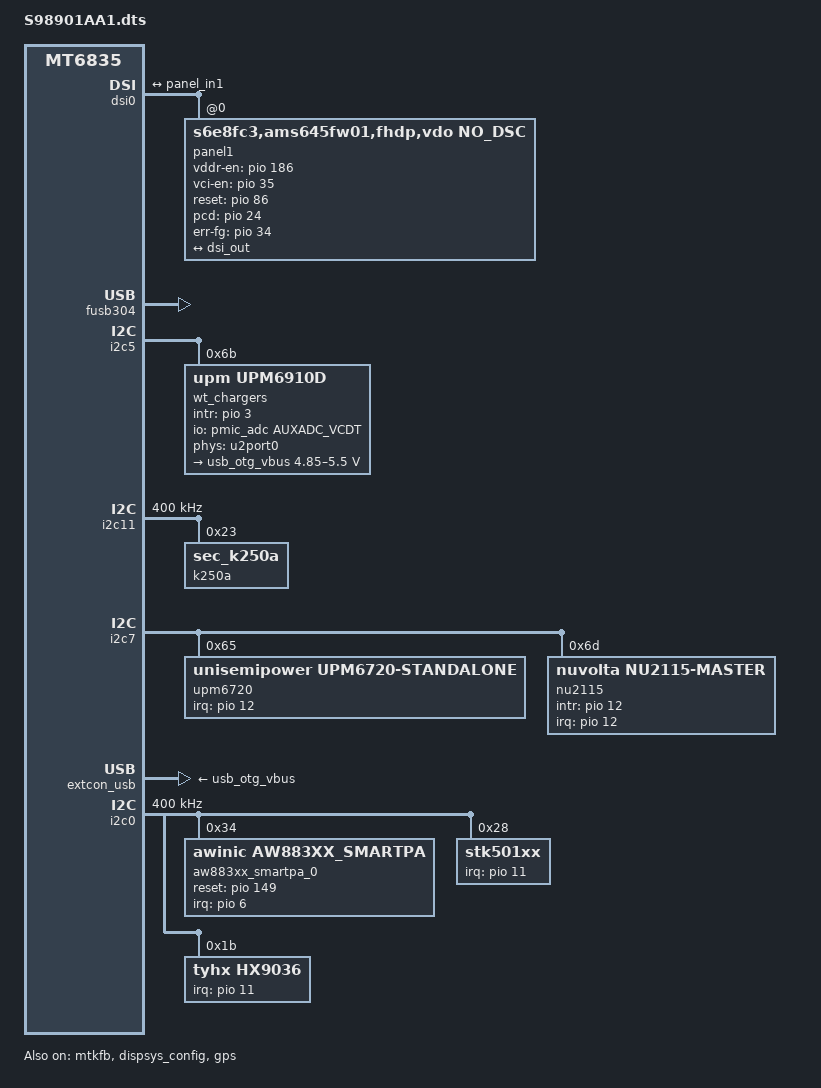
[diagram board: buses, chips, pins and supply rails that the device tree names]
// SPDX-License-Identifier: (GPL-2.0 OR MIT)
/*
 * Copyright (C) 2022 MediaTek Inc.
 */
#include <dt-bindings/interrupt-controller/arm-gic.h>
#include <dt-bindings/interrupt-controller/irq.h>
#include <dt-bindings/phy/phy.h>
#include <dt-bindings/pinctrl/mt6835-pinfunc.h>
#include "mediatek/mt6835_6377.dtsi"
#include "mediatek/cust_mt6835_camera_S98901AA1.dtsi"
#include "mediatek/tcpc_config.dtsi"
#include "mediatek/mt6835-sia81x9.dtsi"

&mtk_leds {
	compatible = "mediatek,disp-leds";

	backlight {
		led_mode = <4>;
		gate_enable = <1>;
		pwm_config = <0 1 0 0 0>;
	};
};

&pio {
	mtkfb_pins_lcm_led_en1: lcm_led_en1_gpio {
		pins_cmd_dat {
			pinmux = <PINMUX_GPIO150__FUNC_GPIO150>;
			slew-rate = <1>;
			output-high;
		};
	};

	mtkfb_pins_lcm_led_en0: lcm_led_en0_gpio {
		pins_cmd_dat {
			pinmux = <PINMUX_GPIO150__FUNC_GPIO150>;
			slew-rate = <1>;
			output-low;
		};
	};

	mtkfb_pins_lcm_rst_out1_gpio: lcm_rst_out1_gpio {
		pins_cmd_dat {
			pinmux = <PINMUX_GPIO86__FUNC_GPIO86>;
			slew-rate = <1>;
			output-high;
		};
	};

	mtkfb_pins_lcm_rst_out0_gpio: lcm_rst_out0_gpio {
		pins_cmd_dat {
			pinmux = <PINMUX_GPIO86__FUNC_GPIO86>;
			slew-rate = <1>;
			output-low;
		};
	};

	mtkfb_pins_lcm_dsi_te: lcm_dsi_te {
		pins_cmd_dat {
			pinmux = <PINMUX_GPIO85__FUNC_DSI_TE>;
		};
	};

	mtkfb_pins_lcm_cphy_out_gpio: lcm_cphy_out_gpio {
		pins_cmd_dat {
			pinmux = <PINMUX_GPIO133__FUNC_GPIO133>;
			slew-rate = <1>;
			output-high;
		};
	};

	mtkfb_pins_lcm_vddr_en_gpio: lcm_vddr_en_gpio {
		pins_cmd_dat {
			pinmux = <PINMUX_GPIO186__FUNC_GPIO186>;
			slew-rate = <1>;
			output-high;
		};
	};

	mtkfb_pins_lcm_vci_en_gpio: lcm_vci_en_gpio {
		pins_cmd_dat {
			pinmux = <PINMUX_GPIO35__FUNC_GPIO35>;
			slew-rate = <1>;
			output-high;
		};
	};

	mtkfb_pins_lcm_pcd_gpio: lcm_pcd_gpio {
		pins_cmd_dat {
			pinmux = <PINMUX_GPIO24__FUNC_GPIO24>;
			slew-rate = <1>;
			output-low;
		};
	};
	mtkfb_pins_lcm_err_fg_gpio: lcm_err_fg_gpio {
		pins_cmd_dat {
			pinmux = <PINMUX_GPIO34__FUNC_GPIO34>;
			slew-rate = <1>;
			output-low;
		};
	};
};

&mtkfb {
	pinctrl-names = "lcm_led_en1_gpio", "lcm_led_en0_gpio",
		"lcm_rst_out1_gpio", "lcm_rst_out0_gpio",
		"mode_te_te", "lcm_cphy_out_gpio",
		"lcm_vddr_en_gpio", "lcm_vci_en_gpio","lcm_pcd_gpio","lcm_err_fg_gpio";
	pinctrl-0 = <&mtkfb_pins_lcm_led_en1>;
	pinctrl-1 = <&mtkfb_pins_lcm_led_en0>;
	pinctrl-2 = <&mtkfb_pins_lcm_rst_out1_gpio>;
	pinctrl-3 = <&mtkfb_pins_lcm_rst_out0_gpio>;
	pinctrl-4 = <&mtkfb_pins_lcm_dsi_te>;
	pinctrl-5 = <&mtkfb_pins_lcm_cphy_out_gpio>;
	pinctrl-6 = <&mtkfb_pins_lcm_vddr_en_gpio>;
	pinctrl-7 = <&mtkfb_pins_lcm_vci_en_gpio>;
	pinctrl-8 = <&mtkfb_pins_lcm_pcd_gpio>;
	pinctrl-9 = <&mtkfb_pins_lcm_err_fg_gpio>;
	status = "okay";
};

&dispsys_config {
	pinctrl-names =
		"lcm_rst_out1_gpio", "lcm_rst_out0_gpio",
		"mode_te_te", "lcm_cphy_out_gpio",
		"lcm_vddr_en_gpio", "lcm_vci_en_gpio","lcm_pcd_gpio","lcm_err_fg_gpio";
	pinctrl-0 = <&mtkfb_pins_lcm_rst_out1_gpio>;
	pinctrl-1 = <&mtkfb_pins_lcm_rst_out0_gpio>;
	pinctrl-2 = <&mtkfb_pins_lcm_dsi_te>;
	pinctrl-3 = <&mtkfb_pins_lcm_cphy_out_gpio>;
	pinctrl-4 = <&mtkfb_pins_lcm_vddr_en_gpio>;
	pinctrl-5 = <&mtkfb_pins_lcm_vci_en_gpio>;
	pinctrl-6 = <&mtkfb_pins_lcm_pcd_gpio>;
	pinctrl-7 = <&mtkfb_pins_lcm_err_fg_gpio>;
	status = "okay";
};
&dsi0 {
	status = "okay";
	#address-cells = <1>;
	#size-cells = <0>;
	switch-fps = <0>;
	switch-mode = "vfp";
	panel1@0 {
		compatible = "s6e8fc3,ams645fw01,fhdp,vdo,no_dsc";
		reg = <0>;
		vddr-en-gpios = <&pio 186 0>;
		vci-en-gpios = <&pio 35 0>;
		reset-gpios = <&pio 86 0>;
		pcd-gpios = <&pio 24 0>;
		err-fg-gpios = <&pio 34 0>;
		pinctrl-names = "default";
		port {
			panel_in1: endpoint {
				remote-endpoint = <&dsi_out>;
			};
		};
	};
/*
	panel2@0 {
		compatible = "s6e8fc3,ams645fw01,fhdp,vdo,no_dsc,a15";
		reg = <1>;
		vddr-en-gpios = <&pio 186 0>;
		vci-en-gpios = <&pio 35 0>;
		reset-gpios = <&pio 86 0>;
		pcd-gpios = <&pio 24 0>;
		err-fg-gpios = <&pio 34 0>;
		pinctrl-names = "default";
		port {
			panel_in2: endpoint {
				remote-endpoint = <&dsi_out>;
			};
		};
	};
*/
	ports {
		port {
			dsi_out: endpoint {
				remote-endpoint = <&panel_in1>;
			};
		};
	};
};

/* usb typec mux start */
&pio {
	sel_up: sel_high {
		pins_cmd_dat {
			pinmux = <PINMUX_GPIO54__FUNC_GPIO54>;
			output-high;
		};
	};

	sel_down: sel_low  {
		pins_cmd_dat {
			pinmux = <PINMUX_GPIO54__FUNC_GPIO54>;
			output-low;
		};
	};

	/*ps_enable: ps_enable {
		pins_cmd_dat {
			pinmux = <PINMUX_GPIO141__FUNC_GPIO141>;
			output-low;
		};
	};

	ps_disable: ps_disable {
		pins_cmd_dat {
			pinmux = <PINMUX_GPIO141__FUNC_GPIO141>;
			output-low;
		};
	};*/
};

/*&ps5169 {
	pinctrl-names = "enable", "disable";
	pinctrl-0 = <&ps_enable>;
	pinctrl-1 = <&ps_disable>;
	status = "okay";
};*/

&fusb304 {
	pinctrl-names = "sel_up", "sel_down";
	pinctrl-0 = <&sel_up>;
	pinctrl-1 = <&sel_down>;
	status = "okay";
};
/*
&mt6375_typec {
	port {
		tcpc_typec_usb: endpoint@0 {
			remote-endpoint = <&ssusb_mux>;
		};
	};
};
*/
&typec_mux_switch {
	orientation-switch;
	mode-switch;
	accessory;
	port {
		ssusb_mux: endpoint@0 {
			//remote-endpoint = <&tcpc_typec_usb>;
		};
	};
};
/* usb typec mux end*/

/* GPS GPIO standardization start */
&pio {
	gps_pins_default: gps_default {
	};
	gps_l1_lna_pins_ol: gps_l1_lna@0 {
		pins_cmd_dat {
			pinmux = <PINMUX_GPIO123__FUNC_GPIO123>;
			output-low;
		};
	};
	gps_l1_lna_pins_dsp_ctrl: gps_l1_lna@1 {
		pins_cmd_dat {
			pinmux = <PINMUX_GPIO123__FUNC_GPS_L1_ELNA_EN>;
		};
	};
	gps_l1_lna_pins_oh: gps_l1_lna@2 {
		pins_cmd_dat {
			pinmux = <PINMUX_GPIO123__FUNC_GPIO123>;
			output-high;
		};
	};
	/*
	gps_l5_lna_pins_ol: gps_l5_lna@0 {
		pins_cmd_dat {
			pinmux = <PINMUX_GPIO124__FUNC_GPIO124>;
			output-low;
		};
	};
	gps_l5_lna_pins_dsp_ctrl: gps_l5_lna@1 {
		pins_cmd_dat {
			pinmux = <PINMUX_GPIO124__FUNC_GPS_L5_ELNA_EN>;
		};
	};
	gps_l5_lna_pins_oh: gps_l5_lna@2 {
		pins_cmd_dat {
			pinmux = <PINMUX_GPIO124__FUNC_GPIO124>;
			output-high;
		};
	};
	*/
};

&gps {
	pinctrl-names = "default",
		"gps_l1_lna_disable",
		"gps_l1_lna_dsp_ctrl",
		"gps_l1_lna_enable";
		//"gps_l5_lna_disable",
		//"gps_l5_lna_dsp_ctrl",
		//"gps_l5_lna_enable";
	pinctrl-0 = <&gps_pins_default>;
	pinctrl-1 = <&gps_l1_lna_pins_ol>;
	pinctrl-2 = <&gps_l1_lna_pins_dsp_ctrl>;
	pinctrl-3 = <&gps_l1_lna_pins_oh>;
	//pinctrl-4 = <&gps_l5_lna_pins_ol>;
	//pinctrl-5 = <&gps_l5_lna_pins_dsp_ctrl>;
	//pinctrl-6 = <&gps_l5_lna_pins_oh>;
	status = "okay";
};
/* GPS GPIO standardization end */

#include "mediatek/cust_mt6835_camera_6377_v4l2.dtsi"
/* #include "mediatek/cust_mt6835_touch_6377_1080x2400.dtsi" */
#include "mediatek/cust_mt6835_touch_6377_1080x2340.dtsi"

&pdc {
	pd_vbus_upper_bound = <12000000>;
};

&mtk_gauge {
	wt,batt-cycle-ranges = <
		0   199  4448000
		200 249  4430000
		250 299  4410000
		300 1000  4390000
		1001 999999 4340000>;
};

&lk_charger{
	boot_battery_voltage = <3500000>;
	/* battery temperature protection */
	temp_t4_threshold = <55>;

	enable_sw_jeita = <1>;
	temp_t0_thres = <(-5)>;
	temp_t0_thres_plus_x_degree = <(-3)>;
	usb_temp_t0_to_t1_cc = <500000>;
	cdp_temp_t0_to_t1_cc = <500000>;
	dcp_temp_t0_to_t1_cc = <500000>;

	temp_t1_thres = <5>;
	temp_t1_thres_plus_x_degree = <6>;
	usb_temp_t1_to_t2_cc = <500000>;
	cdp_temp_t1_to_t2_cc = <1500000>;
	dcp_temp_t1_to_t2_cc = <1500000>;

	temp_t2_thres = <15>;
	temp_t2_thres_plus_x_degree = <16>;
	usb_temp_t2_to_t3_cc = <500000>;
	cdp_temp_t2_to_t3_cc = <1500000>;
	dcp_temp_t2_to_t3_cc = <1500000>;

	temp_t3_thres = <45>;
	temp_t3_thres_minus_x_degree = <43>;
	usb_temp_t3_to_t4_cc = <500000>;
	cdp_temp_t3_to_t4_cc = <1500000>;
	dcp_temp_t3_to_t4_cc = <1500000>;

	temp_t4_thres = <55>;
	temp_t4_thres_minus_x_degree = <53>;
	jeita_temp_above_t4_cc = <0>;
	jeita_temp_below_t0_cc = <0>;
};

&charger{
	enable-vbat-mon = <0>;
        charger = <&wt_chargers>;
        enable_afc;  /*enable for afc fast charge */
        afc_switch_gpio_num = <32>;
        afc_switch_gpio = <&pio 32 0x0>;
        afc_data_gpio_num = <43>;
        afc_data_gpio = <&pio 43 0x0>;
        afc_start_battery_soc = <0>;
        afc_stop_battery_soc = <85>;
        afc_pre_input_curret = <500000>;
        afc_charger_input_current = <1670000>;
        afc_charger_current = <2800000>;
        afc_common_charger_input_curr = <1800000>;
        afc_common_charger_curr = <2500000>;
        afc_ichg_level_threshold = <1000000>;
        afc_min_charger_voltage = <4200000>;
        afc_max_charger_voltage = <9000000>;
        pinctrl-names = "active", "sleep";
        pinctrl-0 = <&afc_enable_pin>;
        pinctrl-1 = <&afc_disable_pin>;

};

&pio {
        afc_disable_pin: sleep {
                pins_cmd0_dat {
                        pinmux = <PINMUX_GPIO43__FUNC_GPIO43>;
                        drive-strength = <4>;
                        input-enable;
                        bias-disable;
                };
        };

        afc_enable_pin: active {
                pins_cmd0_dat {
                        pinmux = <PINMUX_GPIO43__FUNC_GPIO43>;
                        drive-strength = <4>;
                        bias-disable;
                };
        };
	battery_id_pin {
		battid_default:  battid_default{
		};
		battid_active:  battid_active{
			pins_cmd_dat {
				pinmux = <PINMUX_GPIO8__FUNC_GPIO8>;
				input-enable;
				bias-pull-up;
			};
		};
		battid_sleep: battid_sleep {
			pins_cmd_dat {
				pinmux = <PINMUX_GPIO8__FUNC_GPIO8>;
				input-enable;
				bias-pull-down;
			};
		};
		battid_idle: battid_idle {
			pins_cmd_dat {
				pinmux = <PINMUX_GPIO8__FUNC_GPIO8>;
				input-enable;
				bias-disable;
			};
		};

		battid1_active:  battid1_active{
			pins_cmd_dat {
				pinmux = <PINMUX_GPIO124__FUNC_GPIO124>;
				input-enable;
				bias-pull-up = <MTK_PUPD_SET_R1R0_01>;
			};
		};
		battid1_sleep: battid1_sleep {
			pins_cmd_dat {
				pinmux = <PINMUX_GPIO124__FUNC_GPIO124>;
				input-enable;
				bias-pull-down = <MTK_PUPD_SET_R1R0_10>;
			};
		};
		battid1_idle: battid1_idle {
			pins_cmd_dat {
				pinmux = <PINMUX_GPIO124__FUNC_GPIO124>;
				input-enable;
				bias-disable;
			};
		};
	};
};

&i2c5 {
    wt_chargers:wt_chargers@6B {
		compatible = "upm,upm6910d","cx,cx2560xd";
		status = "okay";
		reg = <0x6B>;
		charger_name = "primary_chg";
		intr_gpio = <&pio 3 0x0>;

		cx,eint_name = "cx25601D";
		cx,cx2560x,charge-detect-enable;
		cx,cx2560x,usb-vlim = <4600>;
		cx,cx2560x,usb-ilim = <2000>;
		cx,cx2560x,usb-vreg = <4400>;
		cx,cx2560x,usb-ichg = <2000>;
		cx,cx2560x,stat-pin-ctrl = <0>;
		cx,cx2560x,precharge-current = <180>;
		cx,cx2560x,termination-current = <300>; //set eoc current 240mA
		cx,cx2560x,boost-voltage = <5126>; //set otg voltage 5.15V
		cx,cx2560x,boost-current = <1200>;
		cx,cx2560x,vac-ovp-threshold = <10500>;

		upm,eint_name = "upm6910";
		upm,upm6910,charge-detect-enable;
		upm,upm6910,usb-vlim = <4500>;
		upm,upm6910,usb-ilim = <2000>;
		upm,upm6910,usb-vreg = <4200>;
		upm,upm6910,usb-ichg = <2000>;
		upm,upm6910,stat-pin-ctrl = <0>;
		upm,upm6910,precharge-current = <180>;
		upm,upm6910,termination-current = <300>; //set eoc current 240mA
		upm,upm6910,boost-voltage = <5150>; //set otg voltage 5.15V
		upm,upm6910,boost-current = <1200>;
		upm,upm6910,vac-ovp-threshold = <14000>;

		io-channels = <&pmic_adc AUXADC_VCDT>;
		io-channel-names = "vbus_dect";

		charger = <&wt_chargers>;
                phys = <&u2port0 PHY_TYPE_USB2>;
                phy-names = "usb2-phy";
                usb = <&ssusb>;
		bootmode = <&chosen>;
		usb_otg_vbus: otg {
				regulator-compatible = "usb-otg-vbus";
				regulator-name = "usb-otg-vbus";
				regulator-min-microvolt = <4850000>;
				regulator-max-microvolt = <5500000>;
				regulator-min-microamp = <500000>;
				regulator-max-microamp = <2400000>;
		};
	};
};

&i2c11 {
	clock-frequency = <400000>;
	status = "okay";
	k250a@23 {
		compatible = "sec_k250a";
		reg = <0x23>;
	};
};

&i2c7 {
    upm6720@65{
		status = "ok";
		compatible = "unisemipower,upm6720-standalone";
		reg = <0x65>;
		irq-gpios = <&pio 12 0>;
        chg_name = "primary_dvchg";

		// upm6720,bat-ovp-disable;
		upm6720,bat-ocp-disable;
		upm6720,bat-ocp-alm-disable;
		// upm6720,bus-ucp-disable;
		// upm6720,bus-rcp-disable;
		// upm6720,vout-ovp-disable;
		// upm6720,tdie-flt-disable;
/*+S96818AA1-1936,zhouxiaopeng2.wt,MODIFY,20230517,disable The temperature detection function*/
		upm6720,tsbus-flt-disable;
		upm6720,tsbat-flt-disable;
/*-S96818AA1-1936,zhouxiaopeng2.wt,MODIFY,20230517,disable The temperature detection function*/
		upm6720,wdt-disable;
		upm6720,vbus-errhi-disable;

		upm6720,bat-ovp-threshold = <4525>;			/* unit: 1mV */
		upm6720,bat-ocp-threshold = <8200>;			/* unit: 1mA */
		upm6720,bus-ovp-threshold = <12000>;		/* unit: 1mV set as 10.5V */
		upm6720,bus-ocp-threshold = <3500>;			/* unit: 1mA */
		upm6720,bus-ucp-threshold = <250>;			/* unit: 1mA */
		upm6720,bus-rcp-threshold = <300>;			/* unit: 1mA */
		upm6720,vac1-ovp-threshold = <10500>;		/* unit: 1mV programmed threshold set as 10.5V */
		upm6720,vac2-ovp-threshold = <10500>;		/* unit: 1mV programmed threshold set as 10.5V */
		upm6720,vout-ovp-threshold = <5000>;		/* unit: 1mV */
		upm6720,tdie-flt-threshold = <140>;			/* unit: 1Â¡Ã¦ */
		upm6720,tsbus-flt-threshold = <4102>;		/* unit: 0.001% */
		upm6720,tsbat-flt-threshold = <4102>;		/* unit: 0.001% */

		// upm6720,bat-ovp-mask;
		// upm6720,bat-ocp-mask;
		// upm6720,bus-ovp-mask;
		// upm6720,bus-ocp-mask;
		// upm6720,bus-ucp-mask;
		// upm6720,bus-rcp-mask;
		// upm6720,vout-ovp-mask;
		// upm6720,vac1-ovp-mask;
		// upm6720,vac2-ovp-mask;

		// upm6720,vout-present-mask;
		// upm6720,vac1-present-mask;
		// upm6720,vac2-present-mask;
		// upm6720,vbus-present-mask;
		// upm6720,acrb1-config-mask;
		// upm6720,acrb2-config-mask;
		// upm6720,cfly-short-mask;
		// upm6720,adc-done-mask;
		// upm6720,ss-timeout-mask;
		// upm6720,tsbus-flt-mask;
		// upm6720,tsbat-flt-mask;
		// upm6720,tdie-flt-mask;
		// upm6720,wd-mask;
		// upm6720,regn-good-mask;
		// upm6720,conv-active-mask;
		// upm6720,vbus-errhi-mask;

		// upm6720,bat-ovp-alm-disable;
		// upm6720,bat-ocp-alm-disable;
		// upm6720,bat-ucp-alm-disable;
		// upm6720,bus-ovp-alm-disable;
		// upm6720,tdie-alm-disable;

		upm6720,bat-ovp-alm-threshold = <4510>;		/* unit: 1mV */
		upm6720,bat-ocp-alm-threshold = <8000>;		/* unit: 1mA */
		upm6720,bat-ucp-alm-threshold = <0>;		/* unit: 1mA */
		upm6720,bus-ovp-alm-threshold = <11800>;	/* unit: 1mV */
		upm6720,bus-ocp-alm-threshold = <5000>;		/* unit: 1mA */
		upm6720,tdie-alm-threshold = <125>;		/* unit: 1mA */

		// upm6720,bat-ovp-alm-mask;
		// upm6720,bat-ocp-alm-mask;
		// upm6720,bat-ucp-alm-mask;
		// upm6720,bus-ovp-alm-mask;
		// upm6720,bus-ocp-alm-mask;
		// upm6720,tsbus-tsbat-alm-mask;
		// upm6720,tdie-alm-mask;

		// upm6720,bus-pulldown-en;
		// upm6720,vac1-pulldown-en;
		// upm6720,vac2-pulldown-en;

		upm6720,sense-resistor-mohm = <5>;	/* unit: 1mohm */
		upm6720,ss-timeout = <10000>;		/* unit: 1ms */
		upm6720,wdt-set = <30000>;			/* unit: 1ms */
		upm6720,chg-config-1 = <1>;
		upm6720,fsw-set = <500>;
		upm6720,freq-shift = <0>;
		upm6720,ibus-ucp-fall-dg-sel = <0>;

		upm6720,adc-enable;
		upm6720,adc-rate = <0>;
		upm6720,adc-avg = <0>;
		upm6720,adc-avg-init = <0>;
		upm6720,adc-sample-bit = <0>;
		// upm6720,ibus-adc-disable;
		// upm6720,vbus-adc-disable;
		// upm6720,vac1-adc-disable;
		// upm6720,vac2-adc-disable;
		// upm6720,vout-adc-disable;
		// upm6720,vbat-adc-disable;
		// upm6720,ibat-adc-disable;
		// upm6720,tsbus-adc-disable;
		// upm6720,tsbat-adc-disable;
		// upm6720,tdie-adc-disable;
		charger = <&wt_chargers>;
	};
	nu2115@6d{
		compatible = "nuvolta,nu2115-master";
		reg = <0x6d>;
		status = "okay";
		interrupt-parent = <&pio>;
		interrupts = <12 0>;
		nu2115,intr_gpio = <&pio 12 0>;
		//sc8541,intr_gpio = <&gpio2 9 IRQ_TYPE_EDGE_FALLING>;
		charger_name = "primary_dvchg";
		charger_name_v4_19 = "primary_divider_chg";

		nuvolta,nu2115,bat-ovp-disable = <0>;
		nuvolta,nu2115,bat-ocp-disable = <1>;
		nuvolta,nu2115,bus-ocp-disable = <0>;
		nuvolta,nu2115,bat-ovp-threshold = <4575>;
		nuvolta,nu2115,bat-ocp-threshold = <8000>;
		nuvolta,nu2115,bus-ovp-threshold = <11000>;
		nuvolta,nu2115,bus-ovp-alarm-threshold = <12300>;
		nuvolta,nu2115,bus-ocp-threshold = <3750>;
		nuvolta,nu2115,bus-ocp-alarm-threshold = <3500>;
		nuvolta,nu2115,ac-ovp-threshold = <10500>;
		nuvolta,nu2115,sense-resistor-mohm = <5>;

		charger = <&wt_chargers>;
	};
};

&extcon_usb{
	vbus-supply = <&usb_otg_vbus>;
	charger = <&wt_chargers>;
};

&mtk_gauge {
	R_FG_VALUE = <(5)>;
	ACTIVE_TABLE = <(5)>;
	CAR_TUNE_VALUE = <(99)>;

	batteryid-gpio = <&pio 8 0>;
	batteryid-gpio1 = <&pio 124 0>;
	pinctrl-names = "battid_default", "battid_active",	"battid_sleep",
		"battid_idle", "battid1_active", "battid1_sleep", "battid1_idle";
	pinctrl-0 = <&battid_default>;
	pinctrl-1 = <&battid_active>;
	pinctrl-2 = <&battid_sleep>;
	pinctrl-3 = <&battid_idle>;
	pinctrl-4 = <&battid1_active>;
	pinctrl-5 = <&battid1_sleep>;
	pinctrl-6 = <&battid1_idle>;
};

/* +S98901AA1-827, zhangtao10.wt, modify, 2024/04/07, audio bringup smartpa */
&i2c6 {
	spk: speaker_amp@5c {
		compatible = "richtek,rt5512";
		#sound-dai-cells = <0>;
		reg = <0x5c>;
		status = "disable";
		sound-name-prefix = "Left";
	};
};

&sound {
	mediatek,spk-i2s = <3 0>;
	mediatek,speaker-codec {
		sound-dai = <&aw883xx_smartpa_0>;
	};
};

&i2c0 {
	status = "okay";
	#address-cells = <1>;
	#size-cells = <0>;
	clock-frequency = <400000>;
	aw883xx_smartpa_0: aw883xx_smartpa@34 { /*I2C ?°å? 0x34*/
		compatible = "awinic,aw883xx_smartpa";
		#sound-dai-cells = <0>;
		reg = <0x34>;
		reset-gpio = <&pio 149 0>; /*å¤ä½å¼è?ç½®*/
		irq-gpio = <&pio 6 0x0>; /*ä¸?­å¼è?ç½®*/
		sync-load = <1>; /*?ºä»¶? è½½?¹å¼ï¼è¥é©±å¨ä»? KO ?¹å¼ç¼è¯??ç½®ä¸? 1*/
		sound-channel = <0>;
		re-min = <1000>; /*?¡å re ?å´?å°å?(mohms)*/
		re-max= <40000>; /*?¡å re ?å´?å¤§å?(mohms)*/
		rename-flag= <1>;
		status = "okay";
	};
	stk501xx:stk501xx@28 {
		compatible = "stk501xx";
		reg = <0x28>;
		interrupt-parent = <&pio>;
		interrupts = <11 IRQ_TYPE_EDGE_FALLING 11 0>;
		status = "okay";
	};
	hx9036: hx9036@1b {
		compatible = "tyhx,hx9036";
		reg = <0x1b>;
		tyhx,irq-gpio = <&pio 11 0x0>;
		tyhx,irq-flags = <2>; //1:rising 2:falling
		tyhx,channel-flag = <0xFF>; //used flag
		status = "okay";
	};
};
/* -S98901AA1-827, zhangtao10.wt, modify, 2024/04/07, audio bringup smartpa */

/*svp start*/
&mtee_svp {
	mtee: MTEE {
		compatible = "mediatek,mtk_svp_on_mtee_support";
	};

	svp: SecureVideoPath {
		compatible = "mediatek,mtk_sec_video_path_support";
	};
};

&scp {
	reg =	<0 0x1c400000 0 0x100000>, /* tcm */
			<0 0x1c724000 0 0x1000>, /* cfg */
			<0 0x1c721000 0 0x1000>, /* clk*/
			<0 0x1c730000 0 0x1000>, /* cfg core0 */
			<0 0x1c740000 0 0x1000>, /* cfg core1 */
			<0 0x1c752000 0 0x1000>, /* bus tracker */
			<0 0x1c760000 0 0x40000>, /* llc */
			<0 0x1c7a5000 0 0x4>, /* cfg_sec */
			<0 0x1c7fb000 0 0x100>, /* mbox0 base */
			<0 0x1c7fb100 0 0x4>, /* mbox0 set */
			<0 0x1c7fb10c 0 0x4>, /* mbox0 clr */
			<0 0x1c7a5020 0 0x4>, /* mbox0 init */
			<0 0x1c7fc000 0 0x100>, /* mbox1 base */
			<0 0x1c7fc100 0 0x4>, /* mbox1 set */
			<0 0x1c7fc10c 0 0x4>, /* mbox1 clr */
			<0 0x1c7a5024 0 0x4>, /* mbox1 init */
			<0 0x1c7fd000 0 0x100>, /* mbox2 base */
			<0 0x1c7fd100 0 0x4>, /* mbox2 set */
			<0 0x1c7fd10c 0 0x4>, /* mbox2 clr */
			<0 0x1c7a5028 0 0x4>, /* mbox2 init */
			<0 0x1c7fe000 0 0x100>, /* mbox3 base */
			<0 0x1c7fe100 0 0x4>, /* mbox3 set */
			<0 0x1c7fe10c 0 0x4>, /* mbox3 clr */
			<0 0x1c7a502c 0 0x4>, /* mbox3 init */
			<0 0x1c7ff000 0 0x100>, /* mbox4 base */
			<0 0x1c7ff100 0 0x4>, /* mbox4 set */
			<0 0x1c7ff10c 0 0x4>, /* mbox4 clr */
			<0 0x1c7a5030 0 0x4>; /* mbox4 init */
	scp-sramsize = <0x100000>;
	secure-dump-size = <0x500000>;
	memorydump = <0x100000>, /* l2tcm */
				     <0x03c000>, /* l1c */
				     <0x003c00>, /* regdump */
				     <0x000400>, /* trace buffer */
				     <0x300000>; /* dram */
};
#include "mediatek/S98901AA1/cust.dtsi"
#include "mediatek/nfc/S98901_RN4V.dtsi"
#include "mediatek/display/display_s6e8fc3_a15.dtsi"
#include "mediatek/display/display_common_oled_board.dtsi"
#include "mediatek/display/display_panel_manager.dtsi"
/*End of this file, DO NOT ADD ANYTHING HERE*/
